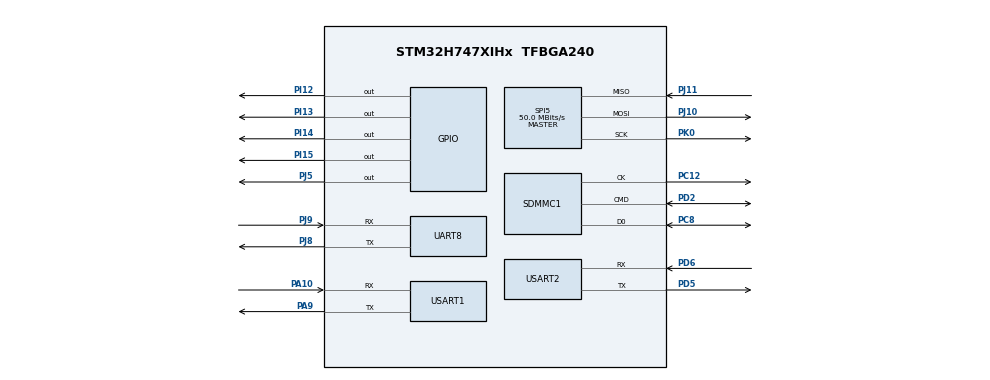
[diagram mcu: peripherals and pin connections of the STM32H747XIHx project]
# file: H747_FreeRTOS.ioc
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Mcu.Family=STM32H7
PD2.PinAttribute=CortexM7
RCC.CortexFreq_Value=100000000
PJ9.Mode=Asynchronous
PH0-OSC_IN\ (PH0).PinAttribute=CortexM7
PH0-OSC_IN\ (PH0).Signal=RCC_OSC_IN
PK0.Mode=Full_Duplex_Master
PC12.Signal=SDMMC1_CK
RCC.PLLFRACN=4096
PI15.PinState=GPIO_PIN_RESET
PJ11.PinAttribute=CortexM7
RCC.PLL2FRACN=0
PC12.PinAttribute=CortexM7
RCC.SYSCLKSource=RCC_SYSCLKSOURCE_PLLCLK
ProjectManager.StackSize=0x400
PJ10.Signal=SPI5_MOSI
PI13.PinState=GPIO_PIN_RESET
PA10.PinAttribute=CortexM7
RCC.HCLKFreq_Value=100000000
PI13.Signal=GPIO_Output
PD5.Mode=Asynchronous
PH1-OSC_OUT\ (PH1).Mode=HSE-External-Oscillator
PC8.PinAttribute=CortexM7
USART2.VirtualMode-Asynchronous=VM_ASYNC
RCC.DIVM1=4
NVIC2.PriorityGroup=NVIC_PRIORITYGROUP_4
PI12.PinAttribute=CortexM7
VP_SYS_M4_VS_Systick.Mode=SysTick
CortexM7.Pins=PI12,PI13,PI14,PI15,PJ5
PJ10.PinAttribute=CortexM7
CortexM7.IPs=BDMA\:I,CORTEX_M7\:I,DEBUG\:I,DMA\:I,FATFS_M7\:I,FREERTOS_M7\:I,IWDG1\:I,MDMA\:I,NVIC1\:I,OPENAMP_M7\:I,PDM2PCM_M7\:I,PWR\:I,RCC\:I,RESMGR_UTILITY\:I,SYS\:I,USB_DEVICE_M7\:I,USB_HOST_M7\:I,VREFBUF\:I,WWDG1\:I,SDMMC1\:I,SPI5\:I,UART8\:I,USART1\:I,USART2\:I
PJ5.PinAttribute=CortexM7
VP_FREERTOS_M7_VS_CMSIS_V1.Mode=CMSIS_V1
RCC.APB3Freq_Value=100000000
Mcu.Package=TFBGA240
PJ9.PinAttribute=CortexM7
PJ9.Signal=UART8_RX
RCC.PLL3FRACN=0
PA10.Signal=USART1_RX
PI12.GPIO_Speed=GPIO_SPEED_FREQ_VERY_HIGH
SPI5.CalculateBaudRate=50.0 MBits/s
RCC.APB4Freq_Value=100000000
FREERTOS_M7.Tasks01=defaultTask,0,128,StartDefaultTask,Default,NULL,Dynamic,NULL,NULL
PD6.Signal=USART2_RX
NVIC1.SPI5_IRQn=true\:5\:0\:false\:false\:true\:true\:true\:true
PH0-OSC_IN\ (PH0).Mode=HSE-External-Oscillator
SPI5.VirtualType=VM_MASTER
PJ5.GPIO_Speed=GPIO_SPEED_FREQ_VERY_HIGH
PH1-OSC_OUT\ (PH1).PinAttribute=CortexM7
PI14.GPIO_Speed=GPIO_SPEED_FREQ_VERY_HIGH
NVIC1.UART8_IRQn=true\:5\:0\:false\:false\:true\:true\:true\:true
PI14.PinState=GPIO_PIN_RESET
PA10.Mode=Asynchronous
PJ8.Mode=Asynchronous
PD6.PinAttribute=CortexM7
PI14.Signal=GPIO_Output
VP_FATFS_M7_VS_SDIO.Mode=SDIO
PI15.PinAttribute=CortexM7
PC8.Signal=SDMMC1_D0
PI14.PinAttribute=CortexM7
NVIC1.PriorityGroup=NVIC_PRIORITYGROUP_4
PI12.Signal=GPIO_Output
PD5.Signal=USART2_TX
PD6.Mode=Asynchronous
SPI5.Mode=SPI_MODE_MASTER
PA9.PinAttribute=CortexM7
PJ8.PinAttribute=CortexM7
PH1-OSC_OUT\ (PH1).Signal=RCC_OSC_OUT
PJ11.Mode=Full_Duplex_Master
PJ11.Signal=SPI5_MISO
SYS.userName=SYS_M7
PJ5.PinState=GPIO_PIN_RESET
USART1.VirtualMode-Asynchronous=VM_ASYNC
PA9.Mode=Asynchronous
ProjectManager.TargetToolchain=STM32CubeIDE
PI13.PinAttribute=CortexM7
PA9.Signal=USART1_TX
RCC.DIVN1=12
RCC.USBFreq_Value=100000000
PK0.Signal=SPI5_SCK
PD2.Mode=SD_1_bit
PK0.PinAttribute=CortexM7
PC12.Mode=SD_1_bit
board=custom
FATFS_M7._USE_STRFUNC=1
NVIC1.USART2_IRQn=true\:5\:0\:false\:false\:true\:true\:true\:true
RCC.APB2Freq_Value=100000000
RCC.ADCFreq_Value=129000000
NVIC1.USART1_IRQn=true\:5\:0\:false\:false\:true\:true\:true\:true
Mcu.Name=STM32H747XIHx
PC8.Mode=SD_1_bit
RCC.SYSCLKFreq_VALUE=100000000
PI15.GPIO_Speed=GPIO_SPEED_FREQ_VERY_HIGH
PJ5.Signal=GPIO_Output
PJ8.Signal=UART8_TX
ProjectManager.HeapSize=0x200
PD5.PinAttribute=CortexM7
PJ10.Mode=Full_Duplex_Master
PI15.Signal=GPIO_Output
PD2.Signal=SDMMC1_CMD
RCC.APB1Freq_Value=100000000
PI13.GPIO_Speed=GPIO_SPEED_FREQ_VERY_HIGH
SPI5.Direction=SPI_DIRECTION_2LINES
PI12.PinState=GPIO_PIN_RESET
CortexM4.IPs=BDMA,CORTEX_M4\:I,DEBUG,DMA,FATFS_M4\:I,FREERTOS_M4\:I,IWDG2\:I,MDMA,NVIC2\:I,OPENAMP_M4\:I,PDM2PCM_M4\:I,PWR,RCC,RESMGR_UTILITY,SYS_M4\:I,USB_DEVICE_M4\:I,USB_HOST_M4\:I,VREFBUF,WWDG2\:I

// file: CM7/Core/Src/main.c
/* USER CODE BEGIN Header */
/**
  ******************************************************************************
  * @file           : main.c
  * @brief          : Main program body
  ******************************************************************************
  * @attention
  *
  * <h2><center>&copy; Copyright (c) 2020 STMicroelectronics.
  * All rights reserved.</center></h2>
  *
  * This software component is licensed by ST under BSD 3-Clause license,
  * the "License"; You may not use this file except in compliance with the
  * License. You may obtain a copy of the License at:
  *                        opensource.org/licenses/BSD-3-Clause
  *
  ******************************************************************************
  */
/* USER CODE END Header */
#include "main.h"
#include "cmsis_os.h"
#include "fatfs.h"
#include <stdint.h>
#include <stdio.h>
#include <ctype.h>
#include <string.h>
#include <limits.h>
#include <stdarg.h>

/* USER CODE BEGIN PD */

#ifndef HSEM_ID_0
#define HSEM_ID_0 (0U) /* HW semaphore 0*/
#endif
/* USER CODE END PD */

SD_HandleTypeDef hsd1;

SPI_HandleTypeDef hspi5;

UART_HandleTypeDef huart8;
UART_HandleTypeDef huart1;
UART_HandleTypeDef huart2;

osThreadId defaultTaskHandle;

xTaskHandle ADC_Task_Hnadler;
xTaskHandle DHT_Task_Hnadler;
xTaskHandle SDCARD_Task_Hnadler;

xSemaphoreHandle DHT_SEM;

void SystemClock_Config(void);
static void MX_GPIO_Init(void);
static void MX_SDMMC1_SD_Init(void);
static void MX_SPI5_Init(void);
static void MX_UART8_Init(void);
static void MX_USART1_UART_Init(void);
static void MX_USART2_UART_Init(void);
void StartDefaultTask(void const * argument);

/* USER CODE BEGIN PFP */
int __io_putchar (int ch) {
	uint8_t c = ch;
	HAL_UART_Transmit(&huart8, &c, 1, 1000);
	return ch;
}

void cs_sel()
{
	HAL_GPIO_WritePin(GPIOK, GPIO_PIN_1, GPIO_PIN_RESET);
}

void cs_desel()
{
	HAL_GPIO_WritePin(GPIOK, GPIO_PIN_1, GPIO_PIN_SET);
}

uint8_t spi_rb(void)
{
	uint8_t rbuf;
	HAL_SPI_Receive(&hspi5, &rbuf, 1, 0xFFFFFFFF);
	return rbuf;
}

void spi_wb(uint8_t b)
{
	HAL_SPI_Transmit(&hspi5, &b, 1, 0xFFFFFFFF);
}
//
//void Sd_Card_Manager()
//{
//	if(BSP_SD_Init() == MSD_OK)
//	{
//		fresult = f_mount(&fatfs,"",1);
//
//		/* Create File with name "stm32.txt" and file access is write */
//		fresult = f_open(&myfile,"stm.txt",FA_CREATE_ALWAYS|FA_WRITE);
//
//		byte_written = f_printf(&myfile,"%s",write_data);
//
//		fresult = f_close(&myfile);
//	}
//}

void ls_dir(char* path)
{
	DIR Dir;
	FILINFO _Finfo;
	BYTE res;
	long p1;
	UINT s1, s2;
	//while (*ptr == ' ') ptr++;
	res = f_opendir(&Dir, path);
	if (res)
	{
		//put_rc(res);
		return;
	}
	p1 = s1 = s2 = 0;
#if _USE_LFN
	//Init buffer for LFN NAME (Without this LFN NAME not visible!!)
	//Also look here:
	/*
	 * http://microsin.net/programming/file-systems/fatfs-read-dir.html
	 * https://electronix.ru/forum/index.php?app=forums&module=forums&controller=topic&id=122267
	 */
    _Finfo.lfname = Lfname;
    _Finfo.lfsize = sizeof(Lfname);
#endif

	for(;;) {
		res = f_readdir(&Dir, &_Finfo);
		if ((res != FR_OK) || !_Finfo.fname[0]) break;
		if (_Finfo.fattrib & AM_DIR) {
			s2++;
		} else {
			s1++; p1 += _Finfo.fsize;
		}
		printf("%c%c%c%c%c %u/%02u/%02u %02u:%02u %9lu  %s",
					(_Finfo.fattrib & AM_DIR) ? 'D' : '-',
					(_Finfo.fattrib & AM_RDO) ? 'R' : '-',
					(_Finfo.fattrib & AM_HID) ? 'H' : '-',
					(_Finfo.fattrib & AM_SYS) ? 'S' : '-',
					(_Finfo.fattrib & AM_ARC) ? 'A' : '-',
					(_Finfo.fdate >> 9) + 1980, (_Finfo.fdate >> 5) & 15, _Finfo.fdate & 31,
					(_Finfo.ftime >> 11), (_Finfo.ftime >> 5) & 63,
					_Finfo.fsize, &(_Finfo.fname[0]));
#if _USE_LFN
		for (p2 = strlen(_Finfo.fname); p2 < 14; p2++)
			xputc(' ');
		xprintf(PSTR("%s\r\n"), Lfname);
#else
		printf("\r\n");
#endif
	}
	f_closedir(&Dir);
}

/* USER CODE END PFP */

int main(void)
{
	/* USER CODE BEGIN Boot_Mode_Sequence_0 */
	int32_t timeout;
	/* USER CODE END Boot_Mode_Sequence_0 */

	/* USER CODE BEGIN Boot_Mode_Sequence_1 */
	/* Wait until CPU2 boots and enters in stop mode or timeout*/
	timeout = 0xFFFF;
	while((__HAL_RCC_GET_FLAG(RCC_FLAG_D2CKRDY) != RESET) && (timeout-- > 0));
	if ( timeout < 0 )
	{
	Error_Handler();
	}
	/* USER CODE END Boot_Mode_Sequence_1 */
	/* MCU Configuration--------------------------------------------------------*/

	/* Reset of all peripherals, Initializes the Flash interface and the Systick. */
	HAL_Init();

	/* Configure the system clock */
	SystemClock_Config();
	/* USER CODE BEGIN Boot_Mode_Sequence_2 */
	/* When system initialization is finished, Cortex-M7 will release Cortex-M4 by means of
	HSEM notification */
	/*HW semaphore Clock enable*/
	__HAL_RCC_HSEM_CLK_ENABLE();
	/*Take HSEM */
	HAL_HSEM_FastTake(HSEM_ID_0);
	/*Release HSEM in order to notify the CPU2(CM4)*/
	HAL_HSEM_Release(HSEM_ID_0,0);
	/* wait until CPU2 wakes up from stop mode */
	timeout = 0xFFFF;
	while((__HAL_RCC_GET_FLAG(RCC_FLAG_D2CKRDY) == RESET) && (timeout-- > 0));
	if ( timeout < 0 )
	{
	Error_Handler();
	}
	/* USER CODE END Boot_Mode_Sequence_2 */

	/* Initialize all configured peripherals */
	MX_GPIO_Init();
	MX_SDMMC1_SD_Init();
	MX_SPI5_Init();
	MX_UART8_Init();
	MX_USART1_UART_Init();
	MX_USART2_UART_Init();
	MX_FATFS_Init();

	DHT_SEM = xSemaphoreCreateBinary();

	xTaskCreate(DHT_Task, "DHT", 128, NULL, 1, &DHT_Task_Hnadler);
	xTaskCreate(ADC_Task, "ADC", 128, NULL, 2, &ADC_Task_Hnadler);
	xTaskCreate(SDCARD_Task, "SD", 128, NULL, 3, &SDCARD_Task_Hnadler);

	HAL_TIM_Base_Start(&htim7);  // us delay timer
	HAL_TIM_Base_Start_IT(&htim1); // periodic delay timer

	vTaskStartScheduler();

	/* Create the thread(s) */
	/* definition and creation of defaultTask */
	osThreadDef(defaultTask, StartDefaultTask, osPriorityNormal, 0, 128);
	defaultTaskHandle = osThreadCreate(osThread(defaultTask), NULL);

	/* Start scheduler */
	osKernelStart();

	/* We should never get here as control is now taken by the scheduler */
	/* Infinite loop */
	while (1)
	{

	}
}

void SystemClock_Config(void)
{
	RCC_ClkInitTypeDef RCC_ClkInitStruct;
	RCC_OscInitTypeDef RCC_OscInitStruct;
	HAL_StatusTypeDef ret = HAL_OK;

	/*!< Supply configuration update enable */
	HAL_PWREx_ConfigSupply(PWR_DIRECT_SMPS_SUPPLY);

	/* The voltage scaling allows optimizing the power consumption when the device is
	 clocked below the maximum system frequency, to update the voltage scaling value
	 regarding system frequency refer to product datasheet.  */
	__HAL_PWR_VOLTAGESCALING_CONFIG(PWR_REGULATOR_VOLTAGE_SCALE1);

	while(!__HAL_PWR_GET_FLAG(PWR_FLAG_VOSRDY)) {}

	/* Enable HSE Oscillator and activate PLL with HSE as source */
	RCC_OscInitStruct.OscillatorType = RCC_OSCILLATORTYPE_HSE;
	RCC_OscInitStruct.HSEState = RCC_HSE_ON;
	RCC_OscInitStruct.HSIState = RCC_HSI_OFF;
	RCC_OscInitStruct.CSIState = RCC_CSI_OFF;
	RCC_OscInitStruct.PLL.PLLState = RCC_PLL_ON;
	RCC_OscInitStruct.PLL.PLLSource = RCC_PLLSOURCE_HSE;

	RCC_OscInitStruct.PLL.PLLM = 5;
	RCC_OscInitStruct.PLL.PLLN = 160;
	RCC_OscInitStruct.PLL.PLLFRACN = 0;
	RCC_OscInitStruct.PLL.PLLP = 2;
	RCC_OscInitStruct.PLL.PLLR = 2;
	RCC_OscInitStruct.PLL.PLLQ = 4;

	RCC_OscInitStruct.PLL.PLLVCOSEL = RCC_PLL1VCOWIDE;
	RCC_OscInitStruct.PLL.PLLRGE = RCC_PLL1VCIRANGE_2;
	ret = HAL_RCC_OscConfig(&RCC_OscInitStruct);
	if(ret != HAL_OK)
	{
	Error_Handler();
	}

	/* Select PLL as system clock source and configure  bus clocks dividers */
	RCC_ClkInitStruct.ClockType = (RCC_CLOCKTYPE_SYSCLK | RCC_CLOCKTYPE_HCLK | RCC_CLOCKTYPE_D1PCLK1 | RCC_CLOCKTYPE_PCLK1 | \
								 RCC_CLOCKTYPE_PCLK2  | RCC_CLOCKTYPE_D3PCLK1);

	RCC_ClkInitStruct.SYSCLKSource = RCC_SYSCLKSOURCE_PLLCLK;
	RCC_ClkInitStruct.SYSCLKDivider = RCC_SYSCLK_DIV1;
	RCC_ClkInitStruct.AHBCLKDivider = RCC_HCLK_DIV2;
	RCC_ClkInitStruct.APB3CLKDivider = RCC_APB3_DIV2;
	RCC_ClkInitStruct.APB1CLKDivider = RCC_APB1_DIV2;
	RCC_ClkInitStruct.APB2CLKDivider = RCC_APB2_DIV2;
	RCC_ClkInitStruct.APB4CLKDivider = RCC_APB4_DIV2;
	ret = HAL_RCC_ClockConfig(&RCC_ClkInitStruct, FLASH_LATENCY_4);
	if(ret != HAL_OK)
	{
	Error_Handler();
	}
	/*
	Note : The activation of the I/O Compensation Cell is recommended with communication  interfaces
		  (GPIO, SPI, FMC, QSPI ...)  when  operating at  high frequencies(please refer to product datasheet)
		  The I/O Compensation Cell activation  procedure requires :
		- The activation of the CSI clock
		- The activation of the SYSCFG clock
		- Enabling the I/O Compensation Cell : setting bit[0] of register SYSCFG_CCCSR

		  To do this please uncomment the following code
	*/

	/*
	__HAL_RCC_CSI_ENABLE() ;

	__HAL_RCC_SYSCFG_CLK_ENABLE() ;

	HAL_EnableCompensationCell();
	*/
}

static void MX_SDMMC1_SD_Init(void)
{

  hsd1.Instance = SDMMC1;
  hsd1.Init.ClockEdge = SDMMC_CLOCK_EDGE_RISING;
  hsd1.Init.ClockPowerSave = SDMMC_CLOCK_POWER_SAVE_DISABLE;
  hsd1.Init.BusWide = SDMMC_BUS_WIDE_1B;
  hsd1.Init.HardwareFlowControl = SDMMC_HARDWARE_FLOW_CONTROL_DISABLE;
  hsd1.Init.ClockDiv = 0;
  hsd1.Init.TranceiverPresent = SDMMC_TRANSCEIVER_NOT_PRESENT;
  if (HAL_SD_Init(&hsd1) != HAL_OK)
  {
    Error_Handler();
  }

}

static void MX_SPI5_Init(void)
{

  /* SPI5 parameter configuration*/
//  hspi5.Instance = SPI5;
//  hspi5.Init.Mode = SPI_MODE_MASTER;
//  hspi5.Init.Direction = SPI_DIRECTION_2LINES;
//  hspi5.Init.DataSize = SPI_DATASIZE_4BIT;
//  hspi5.Init.CLKPolarity = SPI_POLARITY_LOW;
//  hspi5.Init.CLKPhase = SPI_PHASE_1EDGE;
//  hspi5.Init.NSS = SPI_NSS_SOFT;
//  hspi5.Init.BaudRatePrescaler = SPI_BAUDRATEPRESCALER_2;
//  hspi5.Init.FirstBit = SPI_FIRSTBIT_MSB;
//  hspi5.Init.TIMode = SPI_TIMODE_DISABLE;
//  hspi5.Init.CRCCalculation = SPI_CRCCALCULATION_DISABLE;
//  hspi5.Init.CRCPolynomial = 0x0;
//  hspi5.Init.NSSPMode = SPI_NSS_PULSE_ENABLE;
//  hspi5.Init.NSSPolarity = SPI_NSS_POLARITY_LOW;
//  hspi5.Init.FifoThreshold = SPI_FIFO_THRESHOLD_01DATA;
//  hspi5.Init.TxCRCInitializationPattern = SPI_CRC_INITIALIZATION_ALL_ZERO_PATTERN;
//  hspi5.Init.RxCRCInitializationPattern = SPI_CRC_INITIALIZATION_ALL_ZERO_PATTERN;
//  hspi5.Init.MasterSSIdleness = SPI_MASTER_SS_IDLENESS_00CYCLE;
//  hspi5.Init.MasterInterDataIdleness = SPI_MASTER_INTERDATA_IDLENESS_00CYCLE;
//  hspi5.Init.MasterReceiverAutoSusp = SPI_MASTER_RX_AUTOSUSP_DISABLE;
//  hspi5.Init.MasterKeepIOState = SPI_MASTER_KEEP_IO_STATE_DISABLE;
//  hspi5.Init.IOSwap = SPI_IO_SWAP_DISABLE;
//  if (HAL_SPI_Init(&hspi5) != HAL_OK)
//  {
//    Error_Handler();
//  }
  /* USER CODE BEGIN SPI5_Init 2 */
	hspi5.Instance               = SPI5;
	hspi5.Init.Mode              = SPI_MODE_MASTER;
	hspi5.Init.BaudRatePrescaler = SPI_BAUDRATEPRESCALER_32;
	hspi5.Init.Direction         = SPI_DIRECTION_2LINES;
	hspi5.Init.CLKPhase          = SPI_PHASE_1EDGE;
	hspi5.Init.CLKPolarity       = SPI_POLARITY_LOW;
	hspi5.Init.DataSize          = SPI_DATASIZE_8BIT;
	hspi5.Init.FirstBit          = SPI_FIRSTBIT_MSB;
	hspi5.Init.TIMode            = SPI_TIMODE_DISABLE;
	hspi5.Init.CRCCalculation    = SPI_CRCCALCULATION_DISABLE;
	hspi5.Init.CRCPolynomial     = 7;
	hspi5.Init.CRCLength         = SPI_CRC_LENGTH_8BIT;
	hspi5.Init.NSS               = SPI_NSS_SOFT;
	hspi5.Init.NSSPMode          = SPI_NSS_PULSE_DISABLE;
	hspi5.Init.MasterKeepIOState = SPI_MASTER_KEEP_IO_STATE_ENABLE;
	if (HAL_SPI_Init(&hspi5) != HAL_OK)
	{
	Error_Handler();
	}
  /* USER CODE END SPI5_Init 2 */

}

static void MX_UART8_Init(void)
{

  huart8.Instance = UART8;
  huart8.Init.BaudRate = 115200;
  huart8.Init.WordLength = UART_WORDLENGTH_8B;
  huart8.Init.StopBits = UART_STOPBITS_1;
  huart8.Init.Parity = UART_PARITY_NONE;
  huart8.Init.Mode = UART_MODE_TX_RX;
  huart8.Init.HwFlowCtl = UART_HWCONTROL_NONE;
  huart8.Init.OverSampling = UART_OVERSAMPLING_16;
  huart8.Init.OneBitSampling = UART_ONE_BIT_SAMPLE_DISABLE;
  huart8.Init.ClockPrescaler = UART_PRESCALER_DIV1;
  huart8.AdvancedInit.AdvFeatureInit = UART_ADVFEATURE_NO_INIT;
  if (HAL_UART_Init(&huart8) != HAL_OK)
  {
    Error_Handler();
  }
  if (HAL_UARTEx_SetTxFifoThreshold(&huart8, UART_TXFIFO_THRESHOLD_1_8) != HAL_OK)
  {
    Error_Handler();
  }
  if (HAL_UARTEx_SetRxFifoThreshold(&huart8, UART_RXFIFO_THRESHOLD_1_8) != HAL_OK)
  {
    Error_Handler();
  }
  if (HAL_UARTEx_DisableFifoMode(&huart8) != HAL_OK)
  {
    Error_Handler();
  }

}

static void MX_USART1_UART_Init(void)
{

  huart1.Instance = USART1;
  huart1.Init.BaudRate = 115200;
  huart1.Init.WordLength = UART_WORDLENGTH_8B;
  huart1.Init.StopBits = UART_STOPBITS_1;
  huart1.Init.Parity = UART_PARITY_NONE;
  huart1.Init.Mode = UART_MODE_TX_RX;
  huart1.Init.HwFlowCtl = UART_HWCONTROL_NONE;
  huart1.Init.OverSampling = UART_OVERSAMPLING_16;
  huart1.Init.OneBitSampling = UART_ONE_BIT_SAMPLE_DISABLE;
  huart1.Init.ClockPrescaler = UART_PRESCALER_DIV1;
  huart1.AdvancedInit.AdvFeatureInit = UART_ADVFEATURE_NO_INIT;
  if (HAL_UART_Init(&huart1) != HAL_OK)
  {
    Error_Handler();
  }
  if (HAL_UARTEx_SetTxFifoThreshold(&huart1, UART_TXFIFO_THRESHOLD_1_8) != HAL_OK)
  {
    Error_Handler();
  }
  if (HAL_UARTEx_SetRxFifoThreshold(&huart1, UART_RXFIFO_THRESHOLD_1_8) != HAL_OK)
  {
    Error_Handler();
  }
  if (HAL_UARTEx_DisableFifoMode(&huart1) != HAL_OK)
  {
    Error_Handler();
  }

}

static void MX_USART2_UART_Init(void)
{

  huart2.Instance = USART2;
  huart2.Init.BaudRate = 115200;
  huart2.Init.WordLength = UART_WORDLENGTH_8B;
  huart2.Init.StopBits = UART_STOPBITS_1;
  huart2.Init.Parity = UART_PARITY_NONE;
  huart2.Init.Mode = UART_MODE_TX_RX;
  huart2.Init.HwFlowCtl = UART_HWCONTROL_NONE;
  huart2.Init.OverSampling = UART_OVERSAMPLING_16;
  huart2.Init.OneBitSampling = UART_ONE_BIT_SAMPLE_DISABLE;
  huart2.Init.ClockPrescaler = UART_PRESCALER_DIV1;
  huart2.AdvancedInit.AdvFeatureInit = UART_ADVFEATURE_NO_INIT;
  if (HAL_UART_Init(&huart2) != HAL_OK)
  {
    Error_Handler();
  }
  if (HAL_UARTEx_SetTxFifoThreshold(&huart2, UART_TXFIFO_THRESHOLD_1_8) != HAL_OK)
  {
    Error_Handler();
  }
  if (HAL_UARTEx_SetRxFifoThreshold(&huart2, UART_RXFIFO_THRESHOLD_1_8) != HAL_OK)
  {
    Error_Handler();
  }
  if (HAL_UARTEx_DisableFifoMode(&huart2) != HAL_OK)
  {
    Error_Handler();
  }

}

static void MX_GPIO_Init(void)
{
  GPIO_InitTypeDef GPIO_InitStruct = {0};

  /* GPIO Ports Clock Enable */
  __HAL_RCC_GPIOD_CLK_ENABLE();
  __HAL_RCC_GPIOC_CLK_ENABLE();
  __HAL_RCC_GPIOA_CLK_ENABLE();
  __HAL_RCC_GPIOI_CLK_ENABLE();
  __HAL_RCC_GPIOH_CLK_ENABLE();
  __HAL_RCC_GPIOK_CLK_ENABLE();
  __HAL_RCC_GPIOJ_CLK_ENABLE();

  /*Configure GPIO pin Output Level */
  HAL_GPIO_WritePin(GPIOI, GPIO_PIN_12|GPIO_PIN_13|GPIO_PIN_14|GPIO_PIN_15, GPIO_PIN_RESET);

  /*Configure GPIO pin Output Level */
  HAL_GPIO_WritePin(GPIOJ, GPIO_PIN_5, GPIO_PIN_RESET);

  /*Configure GPIO pins : PI12 PI13 PI14 PI15 */
  GPIO_InitStruct.Pin = GPIO_PIN_12|GPIO_PIN_13|GPIO_PIN_14|GPIO_PIN_15;
  GPIO_InitStruct.Mode = GPIO_MODE_OUTPUT_PP;
  GPIO_InitStruct.Pull = GPIO_NOPULL;
  GPIO_InitStruct.Speed = GPIO_SPEED_FREQ_VERY_HIGH;
  HAL_GPIO_Init(GPIOI, &GPIO_InitStruct);

  /*Configure GPIO pin : PJ5 */
  GPIO_InitStruct.Pin = GPIO_PIN_5;
  GPIO_InitStruct.Mode = GPIO_MODE_OUTPUT_PP;
  GPIO_InitStruct.Pull = GPIO_NOPULL;
  GPIO_InitStruct.Speed = GPIO_SPEED_FREQ_VERY_HIGH;
  HAL_GPIO_Init(GPIOJ, &GPIO_InitStruct);

}

void StartDefaultTask(void const * argument)
{
  for(;;)
  {
    osDelay(1);
  }
}

void Error_Handler(void)
{
  __disable_irq();
  while (1)
  {
  }
}

/************************ (C) COPYRIGHT STMicroelectronics *****END OF FILE****/
